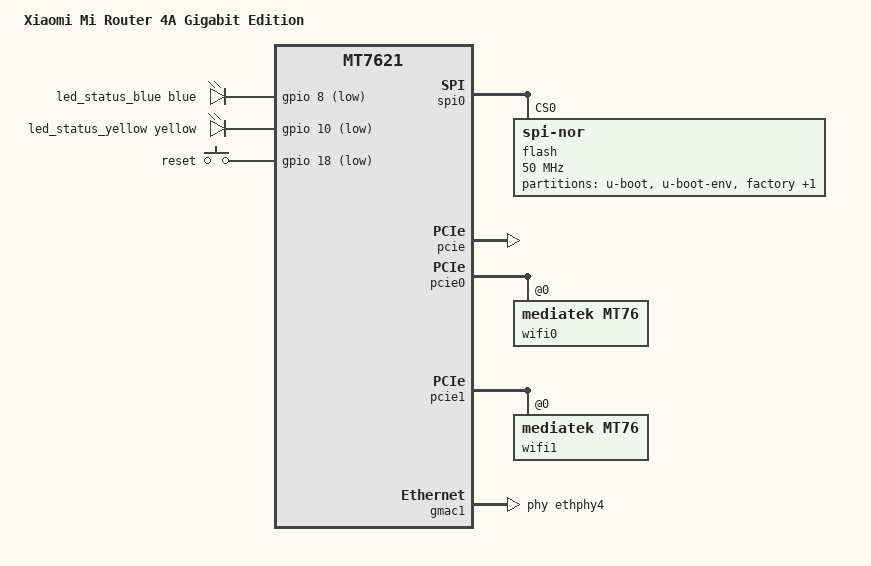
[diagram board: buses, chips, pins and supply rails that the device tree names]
#include "mt7621.dtsi"

#include <dt-bindings/gpio/gpio.h>
#include <dt-bindings/input/input.h>
#include <dt-bindings/leds/common.h>

/ {
	compatible = "xiaomi,mi-router-4a-gigabit", "mediatek,mt7621-soc";
	model = "Xiaomi Mi Router 4A Gigabit Edition";

	aliases {
		led-boot = &led_status_yellow;
		led-failsafe = &led_status_yellow;
		led-running = &led_status_blue;
		led-upgrade = &led_status_yellow;
	};

	chosen {
		bootargs = "console=ttyS0,115200n8";
	};

	leds {
		compatible = "gpio-leds";

		led_status_blue: status_blue {
			function = LED_FUNCTION_STATUS;
			color = <LED_COLOR_ID_BLUE>;
			gpios = <&gpio 8 GPIO_ACTIVE_LOW>;
		};

		led_status_yellow: status_yellow {
			function = LED_FUNCTION_STATUS;
			color = <LED_COLOR_ID_YELLOW>;
			gpios = <&gpio 10 GPIO_ACTIVE_LOW>;
		};
	};

	keys {
		compatible = "gpio-keys";

		reset {
			label = "reset";
			gpios = <&gpio 18 GPIO_ACTIVE_LOW>;
			linux,code = <KEY_RESTART>;
		};
	};
};

&spi0 {
	status = "okay";

	flash@0 {
		compatible = "jedec,spi-nor";
		reg = <0>;
		spi-max-frequency = <50000000>;
		m25p,fast-read;

		partitions: partitions {
			compatible = "fixed-partitions";
			#address-cells = <1>;
			#size-cells = <1>;

			partition@0 {
				label = "u-boot";
				reg = <0x0 0x30000>;
				read-only;
			};

			partition@30000 {
				label = "u-boot-env";
				reg = <0x30000 0x10000>;
				read-only;
			};

			partition@40000 {
				label = "factory";
				reg = <0x40000 0x10000>;
				read-only;

				nvmem-layout {
					compatible = "fixed-layout";
					#address-cells = <1>;
					#size-cells = <1>;

					eeprom_factory_0: eeprom@0 {
						reg = <0x0 0x400>;
					};

					eeprom_factory_8000: eeprom@8000 {
						reg = <0x8000 0x200>;
					};

					macaddr_factory_e000: macaddr@e000 {
						reg = <0xe000 0x6>;
					};

					macaddr_factory_e006: macaddr@e006 {
						reg = <0xe006 0x6>;
					};
				};
			};

			partition@50000 {
				compatible = "denx,uimage";
				label = "firmware";
				reg = <0x50000 0xfb0000>;
			};
		};
	};
};

&wifi0 {
	nvmem-cells = <&eeprom_factory_8000>;
	nvmem-cell-names = "eeprom";
	ieee80211-freq-limit = <5000000 6000000>;
};

&wifi1 {
	nvmem-cells = <&eeprom_factory_0>;
	nvmem-cell-names = "eeprom";
	ieee80211-freq-limit = <2400000 2500000>;
};

&pcie {
	status = "okay";
};

&pcie0 {
	wifi0: wifi@0,0 {
		compatible = "mediatek,mt76";
		reg = <0x0000 0 0 0 0>;
	};
};

&pcie1 {
	wifi1: wifi@0,0 {
		compatible = "mediatek,mt76";
		reg = <0x0000 0 0 0 0>;
	};
};

&gmac0 {
	nvmem-cells = <&macaddr_factory_e000>;
	nvmem-cell-names = "mac-address";
};

&gmac1 {
	status = "okay";
	label = "wan";
	phy-handle = <&ethphy4>;

	nvmem-cells = <&macaddr_factory_e006>;
	nvmem-cell-names = "mac-address";
};

&ethphy4 {
	/delete-property/ interrupts;
};

&switch0 {
	ports {
		port@2 {
			status = "okay";
			label = "lan2";
		};

		port@3 {
			status = "okay";
			label = "lan1";
		};
	};
};

&state_default {
	gpio {
		groups = "jtag", "uart2", "uart3", "wdt";
		function = "gpio";
	};
};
